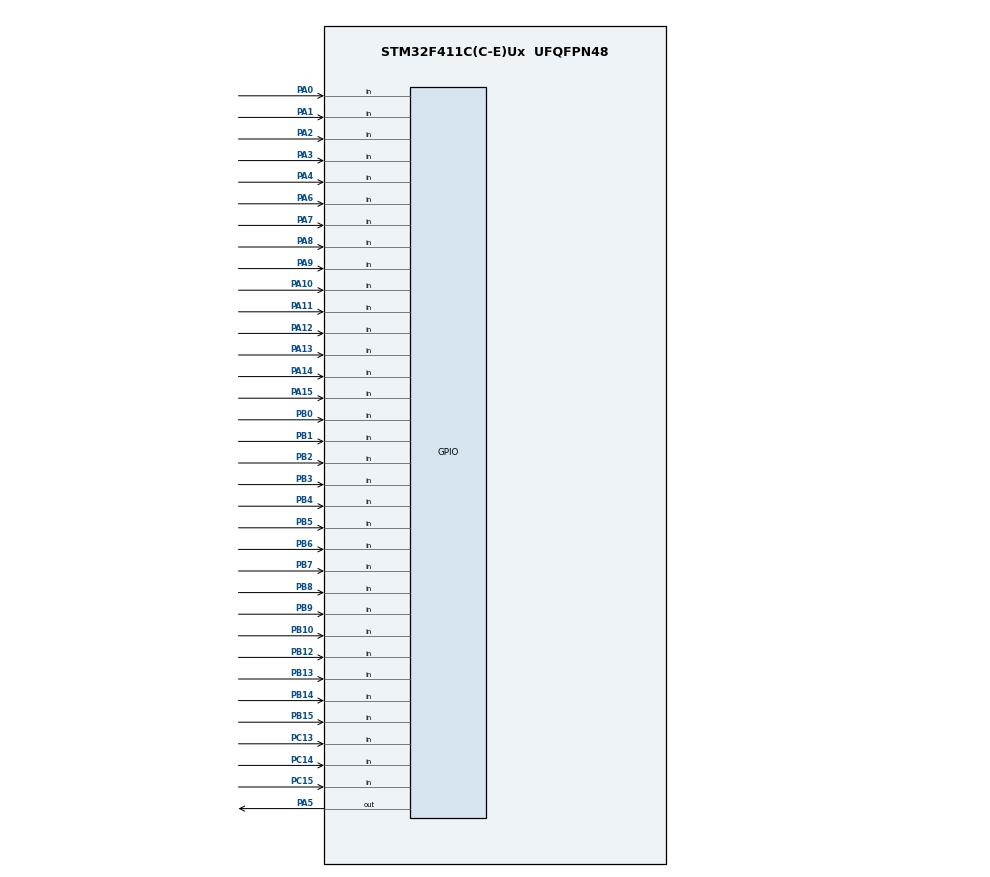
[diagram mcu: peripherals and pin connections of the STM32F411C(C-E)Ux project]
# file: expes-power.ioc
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Mcu.Family=STM32F4
Mcu.Name=STM32F411C(C-E)Ux
Mcu.Package=UFQFPN48
NVIC.PriorityGroup=NVIC_PRIORITYGROUP_4
PA0-WKUP.Signal=GPIO_Input
PA1.Signal=GPIO_Input
PA10.Signal=GPIO_Input
PA11.Signal=GPIO_Input
PA12.Signal=GPIO_Input
PA13.Signal=GPIO_Input
PA14.Signal=GPIO_Input
PA15.Signal=GPIO_Input
PA2.Signal=GPIO_Input
PA3.Signal=GPIO_Input
PA4.Signal=GPIO_Input
PA5.Signal=GPIO_Output
PA6.Signal=GPIO_Input
PA7.Signal=GPIO_Input
PA8.Signal=GPIO_Input
PA9.Signal=GPIO_Input
PB0.Signal=GPIO_Input
PB1.Signal=GPIO_Input
PB10.Signal=GPIO_Input
PB12.Signal=GPIO_Input
PB13.Signal=GPIO_Input
PB14.Signal=GPIO_Input
PB15.Signal=GPIO_Input
PB2.Signal=GPIO_Input
PB3.Signal=GPIO_Input
PB4.Signal=GPIO_Input
PB5.Signal=GPIO_Input
PB6.Signal=GPIO_Input
PB7.Signal=GPIO_Input
PB8.Signal=GPIO_Input
PB9.Signal=GPIO_Input
PC13-ANTI_TAMP.Signal=GPIO_Input
PC14-OSC32_IN.Signal=GPIO_Input
PC15-OSC32_OUT.Signal=GPIO_Input
PH0\ -\ OSC_IN.Mode=HSE-External-Oscillator
PH0\ -\ OSC_IN.Signal=RCC_OSC_IN
PH1\ -\ OSC_OUT.Mode=HSE-External-Oscillator
PH1\ -\ OSC_OUT.Signal=RCC_OSC_OUT
ProjectManager.HeapSize=0x200
ProjectManager.StackSize=0x400
ProjectManager.TargetToolchain=CMake
RCC.48MHZClocksFreq_Value=32000000
RCC.AHBCLKDivider=RCC_SYSCLK_DIV64
RCC.AHBFreq_Value=1000000
RCC.APB1CLKDivider=RCC_HCLK_DIV2
RCC.APB1Freq_Value=500000
RCC.APB1TimFreq_Value=1000000
RCC.APB2Freq_Value=1000000
RCC.APB2TimFreq_Value=1000000
RCC.CortexFreq_Value=1000000
RCC.HCLKFreq_Value=1000000
RCC.HSE_VALUE=25000000
RCC.HSI_VALUE=16000000
RCC.LSE_VALUE=32768
RCC.PLLM=8
RCC.PLLN=64
RCC.SYSCLKFreq_VALUE=64000000
RCC.SYSCLKSource=RCC_SYSCLKSOURCE_PLLCLK
RCC.VCOOutputFreq_Value=128000000
board=custom

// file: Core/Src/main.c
/* USER CODE BEGIN Header */
/**
  ******************************************************************************
  * @file           : main.c
  * @brief          : Main program body
  ******************************************************************************
  * @attention
  *
  * Copyright (c) 2026 STMicroelectronics.
  * All rights reserved.
  *
  * This software is licensed under terms that can be found in the LICENSE file
  * in the root directory of this software component.
  * If no LICENSE file comes with this software, it is provided AS-IS.
  *
  ******************************************************************************
  */
/* USER CODE END Header */
#include "main.h"
#include "stm32f4xx_hal.h"

/* USER CODE BEGIN Includes */
#include "target_configuration.h"
#include <stdint.h>
#include <stdlib.h>
#include <stdio.h>

// Benchmark sizes
#define BENCH_PRIME_SIZE 2000
#define BENCH_MAT_SIZE 100
#define BENCH_MAT_SIZE_DOUBLE 70

// Benchmark correct results
#define CORRECT_PRIME 303
#define CORRECT_MAT_MUL 1141371108
#define CORRECT_MAT_MUL_FLOAT 63883268.0
#define CORRECT_MAT_MUL_DOUBLE_LOWER 21570919.092350
#define CORRECT_MAT_MUL_DOUBLE_UPPER 21570919.092360

#define SEED 42

/* USER CODE END Includes */

void SystemClock_Config(void);
static void MX_GPIO_Init_pull_downs(void);

/* USER CODE BEGIN 0 */

static void MX_GPIO_Init_pull_downs(void)
{
  GPIO_InitTypeDef GPIO_InitStruct = {0};
  /* USER CODE BEGIN MX_GPIO_Init_1 */

  /* USER CODE END MX_GPIO_Init_1 */

  /* GPIO Ports Clock Enable */
  __HAL_RCC_GPIOC_CLK_ENABLE();
  __HAL_RCC_GPIOH_CLK_ENABLE();
  __HAL_RCC_GPIOA_CLK_ENABLE();
  __HAL_RCC_GPIOB_CLK_ENABLE();

  /*Configure GPIO pin Output Level */
  HAL_GPIO_WritePin(GPIOA, GPIO_PIN_5, GPIO_PIN_RESET);

  /*Configure GPIO pins : PC13 PC14 PC15 */
  GPIO_InitStruct.Pin = GPIO_PIN_13|GPIO_PIN_14|GPIO_PIN_15;
  GPIO_InitStruct.Mode = GPIO_MODE_INPUT;
  GPIO_InitStruct.Pull = GPIO_PULLDOWN;
  HAL_GPIO_Init(GPIOC, &GPIO_InitStruct);

  /*Configure GPIO pins : PA0 PA1 PA2 PA3
                           PA4 PA6 PA7 PA8
                           PA9 PA10 PA11 PA12
                           PA13 PA14 PA15 */
  GPIO_InitStruct.Pin = GPIO_PIN_0|GPIO_PIN_1|GPIO_PIN_2|GPIO_PIN_3
                          |GPIO_PIN_4|GPIO_PIN_6|GPIO_PIN_7|GPIO_PIN_8
                          |GPIO_PIN_9|GPIO_PIN_10|GPIO_PIN_11|GPIO_PIN_12
                          |GPIO_PIN_13|GPIO_PIN_14|GPIO_PIN_15;
  GPIO_InitStruct.Mode = GPIO_MODE_INPUT;
  GPIO_InitStruct.Pull = GPIO_PULLDOWN;
  HAL_GPIO_Init(GPIOA, &GPIO_InitStruct);

  /*Configure GPIO pin : PA5 */
  GPIO_InitStruct.Pin = GPIO_PIN_5;
  GPIO_InitStruct.Mode = GPIO_MODE_OUTPUT_PP;
  GPIO_InitStruct.Pull = GPIO_PULLDOWN;
  GPIO_InitStruct.Speed = GPIO_SPEED_FREQ_LOW;
  HAL_GPIO_Init(GPIOA, &GPIO_InitStruct);

  /*Configure GPIO pins : PB0 PB1 PB2 PB10
                           PB12 PB13 PB14 PB15
                           PB3 PB4 PB5 PB6
                           PB7 PB8 PB9 */
  GPIO_InitStruct.Pin = GPIO_PIN_0|GPIO_PIN_1|GPIO_PIN_2|GPIO_PIN_10
                          |GPIO_PIN_12|GPIO_PIN_13|GPIO_PIN_14|GPIO_PIN_15
                          |GPIO_PIN_3|GPIO_PIN_4|GPIO_PIN_5|GPIO_PIN_6
                          |GPIO_PIN_7|GPIO_PIN_8|GPIO_PIN_9;
  GPIO_InitStruct.Mode = GPIO_MODE_INPUT;
  GPIO_InitStruct.Pull = GPIO_PULLDOWN;
  HAL_GPIO_Init(GPIOB, &GPIO_InitStruct);

  /* USER CODE BEGIN MX_GPIO_Init_2 */

  /* USER CODE END MX_GPIO_Init_2 */
}

uint32_t compute_primes(uint32_t start, uint32_t end) {
	volatile uint32_t cpt = 0;
	uint32_t is_prime = 1;
	for (int k = start; k < end; k++) {
		is_prime = 1;
		for (int i = 2; i	< k; i++) {
			if (k%i==0) {
				is_prime = 0;
			}
		}
		if(is_prime == 1) {
			cpt += 1;
		}
	}
	return cpt;
}

uint32_t benchmark_prime(uint32_t benchmark_size) {
	HAL_GPIO_WritePin(GPIOA, GPIO_PIN_5, 1);
	volatile uint32_t cpt = compute_primes(2, benchmark_size);
	HAL_GPIO_WritePin(GPIOA, GPIO_PIN_5, 0);
	return cpt;
}

uint32_t benchmark_mat_mul(uint32_t size) {
	volatile uint32_t checksum = 0;
	srand(SEED);
	// Three 32-bits matrixes of 72 elements account for 486 kB, which should account for all 8 memory banks in SRAM0 and SRAM1
	uint32_t *A = malloc(sizeof(uint32_t)*size*size);
	uint32_t *B = malloc(sizeof(uint32_t)*size*size);
	uint32_t *C = malloc(sizeof(uint32_t)*size*size);
	for(int i = 0; i < size; i++) {
		for(int j = 0; j < size; j++) {
			A[size*i + j] = rand() % 256;
			B[size*i + j] = rand() % 256;
			C[size*i + j] = 0;
		}
	}
	HAL_GPIO_WritePin(GPIOA, GPIO_PIN_5, 1);
	for(int i = 0; i < size; i++) {
		for(int j = 0; j < size; j++) {
			for(int k = 0; k < size; k++) {
				C[size*i + j] += A[size*i + k] * B[size*k + j];
			}
		}
	}
	HAL_GPIO_WritePin(GPIOA, GPIO_PIN_5, 0);

	// Prevent compiler optimisation and check results
	checksum = 0;
	for(int i = 0; i < size; i++) {
		for(int j = 0; j < size; j++) {
			checksum = (checksum + C[size*i +j]) % (1<<31);
		}
	}
	free(A);
	free(B);
	free(C);
	return checksum;
}

float benchmark_mat_mul_float(uint32_t size) {
	volatile float checksum = 0;
	srand(SEED);
	// Three 32-bits matrixes of 72 elements account for 486 kB, which should account for all 8 memory banks in SRAM0 and SRAM1
	float *A = malloc(sizeof(float)*size*size);
	float *B = malloc(sizeof(float)*size*size);
	float *C = malloc(sizeof(float)*size*size);
	for(int i = 0; i < size; i++) {
		for(int j = 0; j < size; j++) {
			A[size*i + j] = (float)rand()/(float)(RAND_MAX/16); // Generates a float between 0 and 16
			B[size*i + j] = (float)rand()/(float)(RAND_MAX/16);
			C[size*i + j] = 0;
		}
	}
	HAL_GPIO_WritePin(GPIOA, GPIO_PIN_5, 1);
	for(int i = 0; i < size; i++) {
		for(int j = 0; j < size; j++) {
			for(int k = 0; k < size; k++) {
				C[size*i + j] += A[size*i + k] * B[size*k + j];
			}
		}
	}
	HAL_GPIO_WritePin(GPIOA, GPIO_PIN_5, 0);
	// Prevent compiler optimisation and check results
	checksum = 0;
	for(int i = 0; i < size; i++) {
		for(int j = 0; j < size; j++) {
			checksum = checksum + C[size*i +j];
		}
	}
	free(A);
	free(B);
	free(C);
	return checksum;
}

double benchmark_mat_mul_double(uint32_t size) {
	volatile double checksum = 0;
	srand(SEED);
	// Three 32-bits matrixes of 72 elements account for 486 kB, which should account for all 8 memory banks in SRAM0 and SRAM1
	double *A = malloc(sizeof(double)*size*size);
	double *B = malloc(sizeof(double)*size*size);
	double *C = malloc(sizeof(double)*size*size);
	for(int i = 0; i < size; i++) {
		for(int j = 0; j < size; j++) {
			A[size*i + j] = (double)rand()/(double)(RAND_MAX/16);
			B[size*i + j] = (double)rand()/(double)(RAND_MAX/16);
			C[size*i + j] = 0;
		}
	}
	HAL_GPIO_WritePin(GPIOA, GPIO_PIN_5, 1);
	for(int i = 0; i < size; i++) {
		for(int j = 0; j < size; j++) {
			for(int k = 0; k < size; k++) {
				C[size*i + j] += A[size*i + k] * B[size*k + j];
			}
		}
	}
	HAL_GPIO_WritePin(GPIOA, GPIO_PIN_5, 0);

	// Prevent compiler optimisation and check results
	checksum = 0;
	for(int i = 0; i < size; i++) {
		for(int j = 0; j < size; j++) {
			checksum = checksum + C[size*i +j];
		}
	}
	free(A);
	free(B);
	free(C);
	return checksum;
}

void run_benchmarks() {
	HAL_Delay(20000);

	volatile uint32_t res_prime = benchmark_prime(BENCH_PRIME_SIZE);
	HAL_Delay(100);

	volatile uint32_t res_mat_mul = benchmark_mat_mul(BENCH_MAT_SIZE);
	HAL_Delay(100);

	volatile float res_mat_mul_float = benchmark_mat_mul_float(BENCH_MAT_SIZE);
	HAL_Delay(100);

	volatile double res_mat_mul_double = benchmark_mat_mul_double(BENCH_MAT_SIZE_DOUBLE);
	HAL_Delay(100);

	// Verification
	if(res_prime != CORRECT_PRIME
			|| res_mat_mul != CORRECT_MAT_MUL
			|| res_mat_mul_float != CORRECT_MAT_MUL_FLOAT
			|| res_mat_mul_double < CORRECT_MAT_MUL_DOUBLE_LOWER
			|| res_mat_mul_double > CORRECT_MAT_MUL_DOUBLE_UPPER) {

		// Activate and turn on LED
		GPIO_InitTypeDef GPIO_InitStruct = {0};
		GPIO_InitStruct.Pin = GPIO_PIN_13;
		GPIO_InitStruct.Mode = GPIO_MODE_OUTPUT_PP;
		GPIO_InitStruct.Pull = GPIO_PULLDOWN;
		GPIO_InitStruct.Speed = GPIO_SPEED_FREQ_LOW;
		HAL_GPIO_Init(GPIOC, &GPIO_InitStruct);

		HAL_GPIO_WritePin(GPIOC, GPIO_PIN_13, GPIO_PIN_RESET);
		while(1){} // Don't continue execution
	}
}

/* USER CODE END 0 */

int main(void)
{

  /* MCU Configuration--------------------------------------------------------*/

  /* Reset of all peripherals, Initializes the Flash interface and the Systick. */
  HAL_Init();

  /* USER CODE BEGIN Init */
  MX_GPIO_Init_pull_downs();
  /* USER CODE END Init */

  /* USER CODE BEGIN SysInit */
	while(1) {
		// max current: 6mA
		SystemClock_Config_HSI_16MHz();
		run_benchmarks();
		SystemClock_Config_HSE_25MHz();
		run_benchmarks();
		SystemClock_Config_HSI_1MHz();
		run_benchmarks();
		SystemClock_Config_HSE_156250000Hz();
		run_benchmarks();
		SystemClock_Config_PLL_1MHz();
		run_benchmarks();
		SystemClock_Config_PLL_1MHz_minvreg();
		run_benchmarks();

		// max current 12mA
		SystemClock_Config_PLL_64MHz_default();
		run_benchmarks();
		SystemClock_Config_PLL_64MHz_minvreg();
		run_benchmarks();
	}

  /* USER CODE END SysInit */

  /* Initialize all configured peripherals */

  /* Infinite loop */

}

void Error_Handler(void)
{
  __disable_irq();
  while (1)
  {
  }
}
